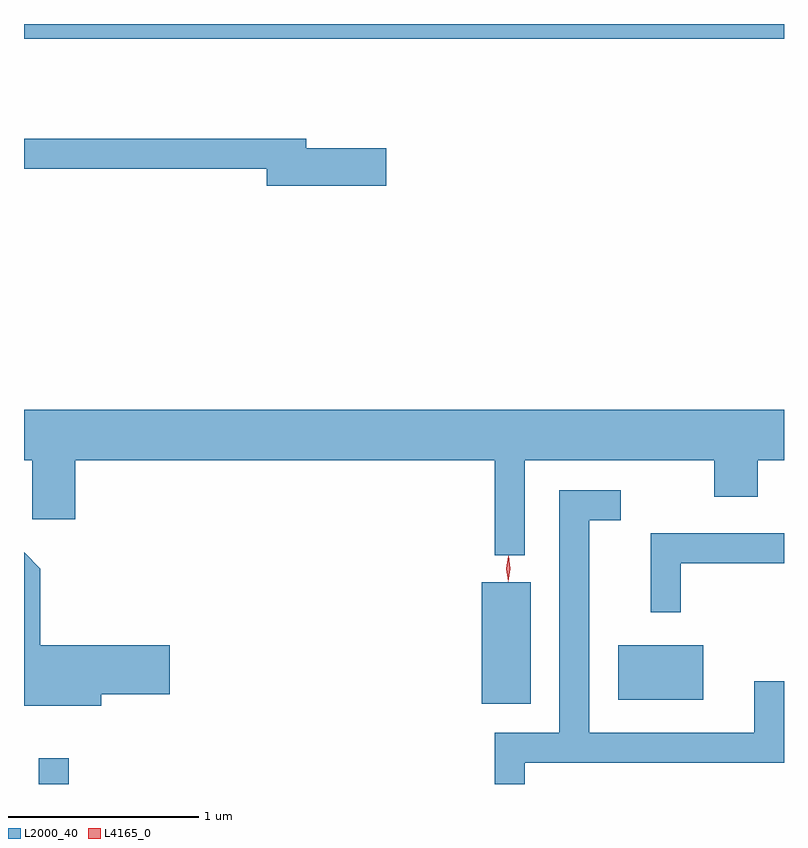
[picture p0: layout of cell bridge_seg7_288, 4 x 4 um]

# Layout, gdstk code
import gdstk
lib = gdstk.Library(unit=1e-6, precision=1e-09)
def R(c, l, rs):  # rectangles x0, y0, x1, y1
    for r in rs: c.add(gdstk.rectangle(r[:2], r[2:], *l))
def P(c, l, *ps):  # polygons
    for p in ps: c.add(gdstk.Polygon(p, *l))
L2000_40 = (2000, 40)
L4165_0 = (4165, 0)

bridge_seg7_288 = lib.new_cell('bridge_seg7_288')
R(bridge_seg7_288, L2000_40, [(1349.966,1765.893,1350.124,1766.028), (1352.296,1766.316,1352.554,1766.954), (1353.016,1766.336,1353.464,1766.624), (1349.888,1769.816,1353.888,1769.893)])
P(bridge_seg7_288, L2000_40, [(1351.794,1769.239),(1351.374,1769.239),(1351.374,1769.289),(1349.888,1769.289),(1349.888,1769.131),(1351.166,1769.131),(1351.166,1769.041),(1351.794,1769.041)],
  [(1352.524,1767.596),(1353.521,1767.596),(1353.521,1767.406),(1353.749,1767.406),(1353.749,1767.596),(1353.888,1767.596),(1353.888,1767.864),(1349.888,1767.864),(1349.888,1767.596),(1349.931,1767.596),(1349.931,1767.286),(1350.159,1767.286),(1350.159,1767.596),(1352.366,1767.596),(1352.366,1767.098),(1352.524,1767.098)],
  [(1352.524,1766.006),(1353.888,1766.006),(1353.888,1766.433),(1353.731,1766.433),(1353.731,1766.164),(1352.864,1766.164),(1352.864,1767.281),(1353.028,1767.281),(1353.028,1767.439),(1352.706,1767.439),(1352.706,1766.164),(1352.366,1766.164),(1352.366,1765.893),(1352.524,1765.893)],
  [(1353.344,1767.056),(1353.888,1767.056),(1353.888,1767.214),(1353.186,1767.214),(1353.186,1766.798),(1353.344,1766.798)],
  [(1350.294,1766.366),(1350.654,1766.366),(1350.654,1766.624),(1349.974,1766.624),(1349.974,1767.027),(1349.888,1767.113),(1349.888,1766.306),(1350.294,1766.306)])
P(bridge_seg7_288, L4165_0, [(1352.436,1766.958),(1352.428,1767.027),(1352.439,1767.095),(1352.439,1767.095),(1352.44,1767.095),(1352.448,1767.026),(1352.437,1766.958),(1352.437,1766.958)],
  [(1352.437,1766.96),(1352.436,1766.961),(1352.427,1767.026),(1352.437,1767.091),(1352.438,1767.092),(1352.438,1767.091),(1352.447,1767.026),(1352.437,1766.961)])

lib.write_gds('bridge_seg7_288.gds')
